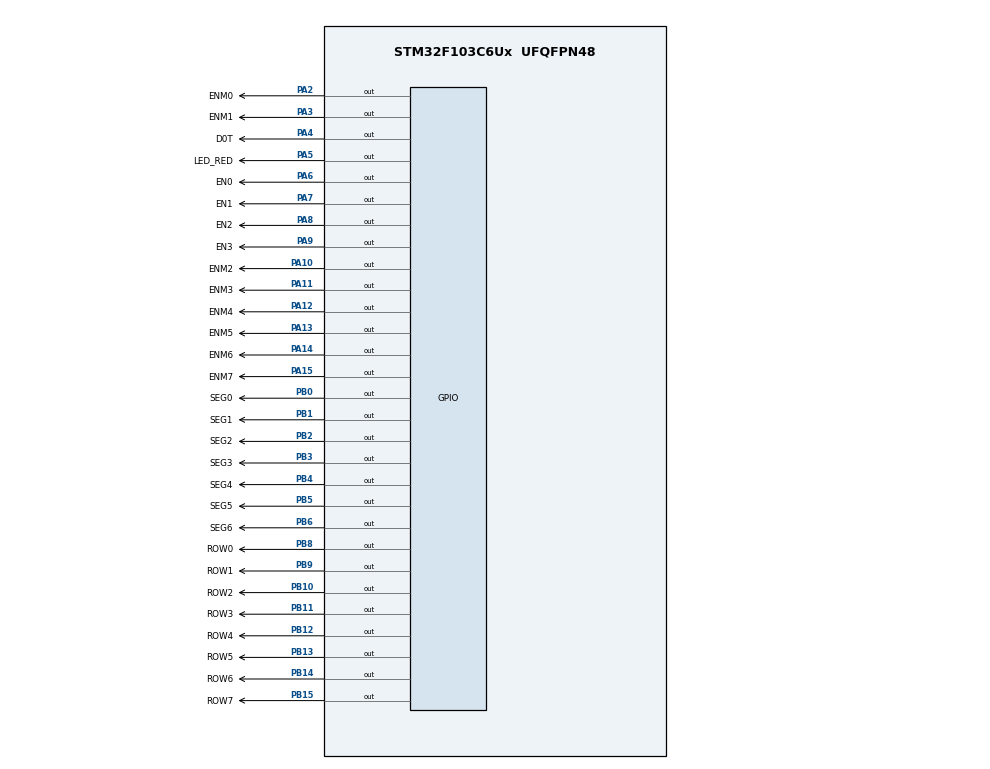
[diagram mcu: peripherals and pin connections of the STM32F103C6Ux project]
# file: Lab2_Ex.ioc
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Mcu.Family=STM32F1
Mcu.Name=STM32F103C6Ux
Mcu.Package=UFQFPN48
NVIC.PriorityGroup=NVIC_PRIORITYGROUP_4
NVIC.TIM2_IRQn=true\:0\:0\:false\:false\:true\:true\:true\:true
PA10.GPIO_Label=ENM2
PA10.Signal=GPIO_Output
PA11.GPIO_Label=ENM3
PA11.Signal=GPIO_Output
PA12.GPIO_Label=ENM4
PA12.Signal=GPIO_Output
PA13.GPIO_Label=ENM5
PA13.Signal=GPIO_Output
PA14.GPIO_Label=ENM6
PA14.Signal=GPIO_Output
PA15.GPIO_Label=ENM7
PA15.Signal=GPIO_Output
PA2.GPIO_Label=ENM0
PA2.Signal=GPIO_Output
PA3.GPIO_Label=ENM1
PA3.Signal=GPIO_Output
PA4.GPIO_Label=D0T
PA4.Signal=GPIO_Output
PA5.GPIO_Label=LED_RED
PA5.Signal=GPIO_Output
PA6.GPIO_Label=EN0
PA6.Signal=GPIO_Output
PA7.GPIO_Label=EN1
PA7.Signal=GPIO_Output
PA8.GPIO_Label=EN2
PA8.Signal=GPIO_Output
PA9.GPIO_Label=EN3
PA9.Signal=GPIO_Output
PB0.GPIO_Label=SEG0
PB0.Signal=GPIO_Output
PB1.GPIO_Label=SEG1
PB1.Signal=GPIO_Output
PB10.GPIO_Label=ROW2
PB10.Signal=GPIO_Output
PB11.GPIO_Label=ROW3
PB11.Signal=GPIO_Output
PB12.GPIO_Label=ROW4
PB12.Signal=GPIO_Output
PB13.GPIO_Label=ROW5
PB13.Signal=GPIO_Output
PB14.GPIO_Label=ROW6
PB14.Signal=GPIO_Output
PB15.GPIO_Label=ROW7
PB15.Signal=GPIO_Output
PB2.GPIO_Label=SEG2
PB2.Signal=GPIO_Output
PB3.GPIO_Label=SEG3
PB3.Signal=GPIO_Output
PB4.GPIO_Label=SEG4
PB4.Signal=GPIO_Output
PB5.GPIO_Label=SEG5
PB5.Signal=GPIO_Output
PB6.GPIO_Label=SEG6
PB6.Signal=GPIO_Output
PB8.GPIO_Label=ROW0
PB8.Signal=GPIO_Output
PB9.GPIO_Label=ROW1
PB9.Signal=GPIO_Output
ProjectManager.HeapSize=0x200
ProjectManager.StackSize=0x400
ProjectManager.TargetToolchain=STM32CubeIDE
RCC.APB1Freq_Value=8000000
RCC.APB2Freq_Value=8000000
TIM2.Period=9
TIM2.Prescaler=7999
VP_TIM2_VS_ClockSourceINT.Mode=Internal
board=custom

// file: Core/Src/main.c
/* USER CODE BEGIN Header */
/**
  ******************************************************************************
  * @file           : main.c
  * @brief          : Main program body
  ******************************************************************************
  * @attention
  *
  * Copyright (c) 2023 STMicroelectronics.
  * All rights reserved.
  *
  * This software is licensed under terms that can be found in the LICENSE file
  * in the root directory of this software component.
  * If no LICENSE file comes with this software, it is provided AS-IS.
  *
  ******************************************************************************
  */
/* USER CODE END Header */
#include "main.h"

/* USER CODE BEGIN Includes */
#include "sortware_timer.h"
//#include "matrix.h"
/* USER CODE END Includes */

TIM_HandleTypeDef htim2;

/* USER CODE BEGIN PV */
const int MAX_LED = 4 ;
int index_led = 0 ;
int led_buffer[4] = {1,5,0,8};
int hour = 15 , minute = 8 , second = 50;
/* USER CODE END PV */

void SystemClock_Config(void);
static void MX_GPIO_Init(void);
static void MX_TIM2_Init(void);
/* USER CODE BEGIN PFP */
void display7SEG(int value);
void turnOn7SEG (int *value);
void machine(int status);
void update7SEG(int index);
void updateClockBuffer();
void digitalClock();
/* USER CODE END PFP */

int main(void)
{

  /* MCU Configuration--------------------------------------------------------*/

  /* Reset of all peripherals, Initializes the Flash interface and the Systick. */
  HAL_Init();

  /* Configure the system clock */
  SystemClock_Config();

  /* Initialize all configured peripherals */
  MX_GPIO_Init();
  MX_TIM2_Init();
  /* USER CODE BEGIN 2 */
  HAL_TIM_Base_Start_IT(&htim2);
  /* USER CODE END 2 */

  /* Infinite loop */
  /* USER CODE BEGIN WHILE */
  setTimer1(100);
  setTimer2(2);
  setTimer3(100);
  int status = 0;
  turnOn7SEG(&status);
  display7SEG(status);
  HAL_GPIO_WritePin(ENM0_GPIO_Port, ENM0_Pin, 1);
  HAL_GPIO_WritePin(ROW0_GPIO_Port, ROW0_Pin, 1);
  int index_led_matrix = 0;
  while (1)
  {
	  if (timer1_flag == 1) {
		  setTimer1(100);
		  HAL_GPIO_TogglePin(LED_RED_GPIO_Port, LED_RED_Pin);
	  }

	  if (index_led >= MAX_LED) {
		  index_led = 0;
	  }
	  if (index_led_matrix >= 8) {
		  index_led_matrix = 0;
	  }
	  if (timer2_flag == 1) {
		  setTimer2(2);
		  update7SEG(index_led++);
		  digitalClock();
		  updateClockBuffer();
		  updateLEDMatrix(index_led_matrix);
		  index_led_matrix++;

	  }
	  if (timer3_flag == 1) {
		  setTimer3(100);
		  HAL_GPIO_TogglePin(D0T_GPIO_Port, D0T_Pin);

	  }
    /* USER CODE END WHILE */

  }
}

void SystemClock_Config(void)
{
  RCC_OscInitTypeDef RCC_OscInitStruct = {0};
  RCC_ClkInitTypeDef RCC_ClkInitStruct = {0};

  /** Initializes the RCC Oscillators according to the specified parameters
  * in the RCC_OscInitTypeDef structure.
  */
  RCC_OscInitStruct.OscillatorType = RCC_OSCILLATORTYPE_HSI;
  RCC_OscInitStruct.HSIState = RCC_HSI_ON;
  RCC_OscInitStruct.HSICalibrationValue = RCC_HSICALIBRATION_DEFAULT;
  RCC_OscInitStruct.PLL.PLLState = RCC_PLL_NONE;
  if (HAL_RCC_OscConfig(&RCC_OscInitStruct) != HAL_OK)
  {
    Error_Handler();
  }

  /** Initializes the CPU, AHB and APB buses clocks
  */
  RCC_ClkInitStruct.ClockType = RCC_CLOCKTYPE_HCLK|RCC_CLOCKTYPE_SYSCLK
                              |RCC_CLOCKTYPE_PCLK1|RCC_CLOCKTYPE_PCLK2;
  RCC_ClkInitStruct.SYSCLKSource = RCC_SYSCLKSOURCE_HSI;
  RCC_ClkInitStruct.AHBCLKDivider = RCC_SYSCLK_DIV1;
  RCC_ClkInitStruct.APB1CLKDivider = RCC_HCLK_DIV1;
  RCC_ClkInitStruct.APB2CLKDivider = RCC_HCLK_DIV1;

  if (HAL_RCC_ClockConfig(&RCC_ClkInitStruct, FLASH_LATENCY_0) != HAL_OK)
  {
    Error_Handler();
  }
}

static void MX_TIM2_Init(void)
{

  TIM_ClockConfigTypeDef sClockSourceConfig = {0};
  TIM_MasterConfigTypeDef sMasterConfig = {0};

  htim2.Instance = TIM2;
  htim2.Init.Prescaler = 7999;
  htim2.Init.CounterMode = TIM_COUNTERMODE_UP;
  htim2.Init.Period = 9;
  htim2.Init.ClockDivision = TIM_CLOCKDIVISION_DIV1;
  htim2.Init.AutoReloadPreload = TIM_AUTORELOAD_PRELOAD_DISABLE;
  if (HAL_TIM_Base_Init(&htim2) != HAL_OK)
  {
    Error_Handler();
  }
  sClockSourceConfig.ClockSource = TIM_CLOCKSOURCE_INTERNAL;
  if (HAL_TIM_ConfigClockSource(&htim2, &sClockSourceConfig) != HAL_OK)
  {
    Error_Handler();
  }
  sMasterConfig.MasterOutputTrigger = TIM_TRGO_RESET;
  sMasterConfig.MasterSlaveMode = TIM_MASTERSLAVEMODE_DISABLE;
  if (HAL_TIMEx_MasterConfigSynchronization(&htim2, &sMasterConfig) != HAL_OK)
  {
    Error_Handler();
  }

}

static void MX_GPIO_Init(void)
{
  GPIO_InitTypeDef GPIO_InitStruct = {0};

  /* GPIO Ports Clock Enable */
  __HAL_RCC_GPIOA_CLK_ENABLE();
  __HAL_RCC_GPIOB_CLK_ENABLE();

  /*Configure GPIO pin Output Level */
  HAL_GPIO_WritePin(GPIOA, ENM0_Pin|ENM1_Pin|D0T_Pin|LED_RED_Pin
                          |EN0_Pin|EN1_Pin|EN2_Pin|EN3_Pin
                          |ENM2_Pin|ENM3_Pin|ENM4_Pin|ENM5_Pin
                          |ENM6_Pin|ENM7_Pin, GPIO_PIN_RESET);

  /*Configure GPIO pin Output Level */
  HAL_GPIO_WritePin(GPIOB, SEG0_Pin|SEG1_Pin|SEG2_Pin|ROW2_Pin
                          |ROW3_Pin|ROW4_Pin|ROW5_Pin|ROW6_Pin
                          |ROW7_Pin|SEG3_Pin|SEG4_Pin|SEG5_Pin
                          |SEG6_Pin|ROW0_Pin|ROW1_Pin, GPIO_PIN_RESET);

  /*Configure GPIO pins : ENM0_Pin ENM1_Pin D0T_Pin LED_RED_Pin
                           EN0_Pin EN1_Pin EN2_Pin EN3_Pin
                           ENM2_Pin ENM3_Pin ENM4_Pin ENM5_Pin
                           ENM6_Pin ENM7_Pin */
  GPIO_InitStruct.Pin = ENM0_Pin|ENM1_Pin|D0T_Pin|LED_RED_Pin
                          |EN0_Pin|EN1_Pin|EN2_Pin|EN3_Pin
                          |ENM2_Pin|ENM3_Pin|ENM4_Pin|ENM5_Pin
                          |ENM6_Pin|ENM7_Pin;
  GPIO_InitStruct.Mode = GPIO_MODE_OUTPUT_PP;
  GPIO_InitStruct.Pull = GPIO_NOPULL;
  GPIO_InitStruct.Speed = GPIO_SPEED_FREQ_LOW;
  HAL_GPIO_Init(GPIOA, &GPIO_InitStruct);

  /*Configure GPIO pins : SEG0_Pin SEG1_Pin SEG2_Pin ROW2_Pin
                           ROW3_Pin ROW4_Pin ROW5_Pin ROW6_Pin
                           ROW7_Pin SEG3_Pin SEG4_Pin SEG5_Pin
                           SEG6_Pin ROW0_Pin ROW1_Pin */
  GPIO_InitStruct.Pin = SEG0_Pin|SEG1_Pin|SEG2_Pin|ROW2_Pin
                          |ROW3_Pin|ROW4_Pin|ROW5_Pin|ROW6_Pin
                          |ROW7_Pin|SEG3_Pin|SEG4_Pin|SEG5_Pin
                          |SEG6_Pin|ROW0_Pin|ROW1_Pin;
  GPIO_InitStruct.Mode = GPIO_MODE_OUTPUT_PP;
  GPIO_InitStruct.Pull = GPIO_NOPULL;
  GPIO_InitStruct.Speed = GPIO_SPEED_FREQ_LOW;
  HAL_GPIO_Init(GPIOB, &GPIO_InitStruct);

}

/* USER CODE BEGIN 4 */

void HAL_TIM_PeriodElapsedCallback(TIM_HandleTypeDef *htim) {
	timerRun();
}

void machine(int status) {
	display7SEG(status);
	switch (status) {
	case 1:
		HAL_GPIO_WritePin(EN0_GPIO_Port, EN0_Pin, 0);
		HAL_GPIO_WritePin(EN1_GPIO_Port, EN1_Pin, 1);
		HAL_GPIO_WritePin(EN2_GPIO_Port, EN2_Pin, 1);
		HAL_GPIO_WritePin(EN3_GPIO_Port, EN3_Pin, 1);
		status = 2;
		break;
	case 2:
		HAL_GPIO_WritePin(EN0_GPIO_Port, EN0_Pin, 1);
		HAL_GPIO_WritePin(EN1_GPIO_Port, EN1_Pin, 0);
		HAL_GPIO_WritePin(EN2_GPIO_Port, EN2_Pin, 1);
		HAL_GPIO_WritePin(EN3_GPIO_Port, EN3_Pin, 1);
		status = 3;
		break;
	case 3:
		HAL_GPIO_WritePin(EN0_GPIO_Port, EN0_Pin, 1);
		HAL_GPIO_WritePin(EN1_GPIO_Port, EN1_Pin, 1);
		HAL_GPIO_WritePin(EN2_GPIO_Port, EN2_Pin, 0);
		HAL_GPIO_WritePin(EN3_GPIO_Port, EN3_Pin, 1);
		status = 0;
		break;
	case 0:
		HAL_GPIO_WritePin(EN0_GPIO_Port, EN0_Pin, 1);
		HAL_GPIO_WritePin(EN1_GPIO_Port, EN1_Pin, 1);
		HAL_GPIO_WritePin(EN2_GPIO_Port, EN2_Pin, 1);
		HAL_GPIO_WritePin(EN3_GPIO_Port, EN3_Pin, 0);
		status = 1;
		break;
	}
}

void display7SEG(int value) {
	HAL_GPIO_WritePin(SEG0_GPIO_Port, SEG0_Pin, GPIO_PIN_SET);
	HAL_GPIO_WritePin(SEG1_GPIO_Port, SEG1_Pin, GPIO_PIN_SET);
	HAL_GPIO_WritePin(SEG2_GPIO_Port, SEG2_Pin, GPIO_PIN_SET);
	HAL_GPIO_WritePin(SEG3_GPIO_Port, SEG3_Pin, GPIO_PIN_SET);
	HAL_GPIO_WritePin(SEG4_GPIO_Port, SEG4_Pin, GPIO_PIN_SET);
	HAL_GPIO_WritePin(SEG5_GPIO_Port, SEG5_Pin, GPIO_PIN_SET);
	HAL_GPIO_WritePin(SEG6_GPIO_Port, SEG6_Pin, GPIO_PIN_SET);
	switch (value) {
	case 1 :
		HAL_GPIO_WritePin(SEG1_GPIO_Port, SEG1_Pin, GPIO_PIN_RESET);
		HAL_GPIO_WritePin(SEG2_GPIO_Port, SEG2_Pin, GPIO_PIN_RESET);
		break;
	case 2 :
		HAL_GPIO_WritePin(SEG0_GPIO_Port, SEG0_Pin, GPIO_PIN_RESET);
		HAL_GPIO_WritePin(SEG1_GPIO_Port, SEG1_Pin, GPIO_PIN_RESET);
		HAL_GPIO_WritePin(SEG3_GPIO_Port, SEG3_Pin, GPIO_PIN_RESET);
		HAL_GPIO_WritePin(SEG4_GPIO_Port, SEG4_Pin, GPIO_PIN_RESET);
		HAL_GPIO_WritePin(SEG6_GPIO_Port, SEG6_Pin, GPIO_PIN_RESET);
		break;
	case 3 :
		HAL_GPIO_WritePin(SEG0_GPIO_Port, SEG0_Pin, GPIO_PIN_RESET);
		HAL_GPIO_WritePin(SEG1_GPIO_Port, SEG1_Pin, GPIO_PIN_RESET);
		HAL_GPIO_WritePin(SEG2_GPIO_Port, SEG2_Pin, GPIO_PIN_RESET);
		HAL_GPIO_WritePin(SEG3_GPIO_Port, SEG3_Pin, GPIO_PIN_RESET);
		HAL_GPIO_WritePin(SEG6_GPIO_Port, SEG6_Pin, GPIO_PIN_RESET);
		break;
	case 4 :
		HAL_GPIO_WritePin(SEG1_GPIO_Port, SEG1_Pin, GPIO_PIN_RESET);
		HAL_GPIO_WritePin(SEG2_GPIO_Port, SEG2_Pin, GPIO_PIN_RESET);
		HAL_GPIO_WritePin(SEG5_GPIO_Port, SEG5_Pin, GPIO_PIN_RESET);
		HAL_GPIO_WritePin(SEG6_GPIO_Port, SEG6_Pin, GPIO_PIN_RESET);
		break;
	case 5 :
		HAL_GPIO_WritePin(SEG0_GPIO_Port, SEG0_Pin, GPIO_PIN_RESET);
		HAL_GPIO_WritePin(SEG2_GPIO_Port, SEG2_Pin, GPIO_PIN_RESET);
		HAL_GPIO_WritePin(SEG3_GPIO_Port, SEG3_Pin, GPIO_PIN_RESET);
		HAL_GPIO_WritePin(SEG5_GPIO_Port, SEG5_Pin, GPIO_PIN_RESET);
		HAL_GPIO_WritePin(SEG6_GPIO_Port, SEG6_Pin, GPIO_PIN_RESET);
		break;
	case 6:
		HAL_GPIO_WritePin(SEG0_GPIO_Port, SEG0_Pin, GPIO_PIN_RESET);
		HAL_GPIO_WritePin(SEG2_GPIO_Port, SEG2_Pin, GPIO_PIN_RESET);
		HAL_GPIO_WritePin(SEG3_GPIO_Port, SEG3_Pin, GPIO_PIN_RESET);
		HAL_GPIO_WritePin(SEG4_GPIO_Port, SEG4_Pin, GPIO_PIN_RESET);
		HAL_GPIO_WritePin(SEG5_GPIO_Port, SEG5_Pin, GPIO_PIN_RESET);
		HAL_GPIO_WritePin(SEG6_GPIO_Port, SEG6_Pin, GPIO_PIN_RESET);
		break;
	case 7 :
		HAL_GPIO_WritePin(SEG0_GPIO_Port, SEG0_Pin, GPIO_PIN_RESET);
		HAL_GPIO_WritePin(SEG1_GPIO_Port, SEG1_Pin, GPIO_PIN_RESET);
		HAL_GPIO_WritePin(SEG2_GPIO_Port, SEG2_Pin, GPIO_PIN_RESET);
		break;
	case 8 :
		HAL_GPIO_WritePin(SEG0_GPIO_Port, SEG0_Pin, GPIO_PIN_RESET);
		HAL_GPIO_WritePin(SEG1_GPIO_Port, SEG1_Pin, GPIO_PIN_RESET);
		HAL_GPIO_WritePin(SEG2_GPIO_Port, SEG2_Pin, GPIO_PIN_RESET);
		HAL_GPIO_WritePin(SEG3_GPIO_Port, SEG3_Pin, GPIO_PIN_RESET);
		HAL_GPIO_WritePin(SEG4_GPIO_Port, SEG4_Pin, GPIO_PIN_RESET);
		HAL_GPIO_WritePin(SEG5_GPIO_Port, SEG5_Pin, GPIO_PIN_RESET);
		HAL_GPIO_WritePin(SEG6_GPIO_Port, SEG6_Pin, GPIO_PIN_RESET);
		break;
	case 9:
		HAL_GPIO_WritePin(SEG0_GPIO_Port, SEG0_Pin, GPIO_PIN_RESET);
		HAL_GPIO_WritePin(SEG1_GPIO_Port, SEG1_Pin, GPIO_PIN_RESET);
		HAL_GPIO_WritePin(SEG2_GPIO_Port, SEG2_Pin, GPIO_PIN_RESET);
		HAL_GPIO_WritePin(SEG3_GPIO_Port, SEG3_Pin, GPIO_PIN_RESET);
		HAL_GPIO_WritePin(SEG5_GPIO_Port, SEG5_Pin, GPIO_PIN_RESET);
		HAL_GPIO_WritePin(SEG6_GPIO_Port, SEG6_Pin, GPIO_PIN_RESET);
		break;
	default:
		HAL_GPIO_WritePin(SEG0_GPIO_Port, SEG0_Pin, GPIO_PIN_RESET);
		HAL_GPIO_WritePin(SEG1_GPIO_Port, SEG1_Pin, GPIO_PIN_RESET);
		HAL_GPIO_WritePin(SEG2_GPIO_Port, SEG2_Pin, GPIO_PIN_RESET);
		HAL_GPIO_WritePin(SEG3_GPIO_Port, SEG3_Pin, GPIO_PIN_RESET);
		HAL_GPIO_WritePin(SEG4_GPIO_Port, SEG4_Pin, GPIO_PIN_RESET);
		HAL_GPIO_WritePin(SEG5_GPIO_Port, SEG5_Pin, GPIO_PIN_RESET);
		break;
	}
}

void turnOn7SEG(int* value) {
	switch (*value) {
	case 0:
		HAL_GPIO_WritePin(EN0_GPIO_Port, EN0_Pin, 0);
		HAL_GPIO_WritePin(EN1_GPIO_Port, EN1_Pin, 1);
		HAL_GPIO_WritePin(EN2_GPIO_Port, EN2_Pin, 1);
		HAL_GPIO_WritePin(EN3_GPIO_Port, EN3_Pin, 1);
		*value = 1;
		break;
	case 1:
			HAL_GPIO_WritePin(EN0_GPIO_Port, EN0_Pin, 1);
			HAL_GPIO_WritePin(EN1_GPIO_Port, EN1_Pin, 0);
			HAL_GPIO_WritePin(EN2_GPIO_Port, EN2_Pin, 1);
			HAL_GPIO_WritePin(EN3_GPIO_Port, EN3_Pin, 1);
			*value = 2;
			break;
	case 2:
			HAL_GPIO_WritePin(EN0_GPIO_Port, EN0_Pin, 1);
			HAL_GPIO_WritePin(EN1_GPIO_Port, EN1_Pin, 1);
			HAL_GPIO_WritePin(EN2_GPIO_Port, EN2_Pin, 0);
			HAL_GPIO_WritePin(EN3_GPIO_Port, EN3_Pin, 1);
			*value = 3;
			break;
	case 3:
			HAL_GPIO_WritePin(EN0_GPIO_Port, EN0_Pin, 1);
			HAL_GPIO_WritePin(EN1_GPIO_Port, EN1_Pin, 1);
			HAL_GPIO_WritePin(EN2_GPIO_Port, EN2_Pin, 1);
			HAL_GPIO_WritePin(EN3_GPIO_Port, EN3_Pin, 0);
			*value = 0;
			break;
	}
}

void update7SEG(int index){
	switch (index) {
		case 0:
			// Display the first 7 SEG with led_buffer [0]
			display7SEG(led_buffer[index]);
			HAL_GPIO_WritePin(EN0_GPIO_Port, EN0_Pin, RESET) ;
			HAL_GPIO_WritePin(EN1_GPIO_Port, EN1_Pin, SET) ;
			HAL_GPIO_WritePin(EN2_GPIO_Port, EN2_Pin, SET) ;
			HAL_GPIO_WritePin(EN3_GPIO_Port, EN3_Pin, SET) ;
			break;
		case 1:
			// Display the first 7 SEG with led_buffer [1]
			display7SEG(led_buffer[index]);
			HAL_GPIO_WritePin(EN0_GPIO_Port, EN0_Pin, SET) ;
			HAL_GPIO_WritePin(EN1_GPIO_Port, EN1_Pin, RESET) ;
			HAL_GPIO_WritePin(EN2_GPIO_Port, EN2_Pin, SET) ;
			HAL_GPIO_WritePin(EN3_GPIO_Port, EN3_Pin, SET) ;
			break;
		case 2:
			// Display the first 7 SEG with led_buffer [2]
			display7SEG(led_buffer[index]);
			HAL_GPIO_WritePin(EN0_GPIO_Port, EN0_Pin, SET) ;
			HAL_GPIO_WritePin(EN1_GPIO_Port, EN1_Pin, SET) ;
			HAL_GPIO_WritePin(EN2_GPIO_Port, EN2_Pin, RESET) ;
			HAL_GPIO_WritePin(EN3_GPIO_Port, EN3_Pin, SET) ;
			break;
		case 3:
			// Display the first 7 SEG with led_buffer [3]
			display7SEG(led_buffer[index]);
			HAL_GPIO_WritePin(EN0_GPIO_Port, EN0_Pin, SET) ;
			HAL_GPIO_WritePin(EN1_GPIO_Port, EN1_Pin, SET) ;
			HAL_GPIO_WritePin(EN2_GPIO_Port, EN2_Pin, SET) ;
			HAL_GPIO_WritePin(EN3_GPIO_Port, EN3_Pin, RESET) ;
			break;
		default:
			break;
	}
}

void updateClockBuffer() {
	led_buffer[0] = hour / 10;
	led_buffer[1] = hour % 10;
	led_buffer[2] = minute / 10;
	led_buffer[3] = minute % 10;
}

void digitalClock() {
	second ++;
	if ( second >= 60) {
		second = 0;
		minute ++;
	}
	if( minute >= 60) {
		minute = 0;
		hour ++;
	}
	if( hour >=24) {
		hour = 0;
	}
}
/* USER CODE END 4 */

void Error_Handler(void)
{
  __disable_irq();
  while (1)
  {
  }
}
